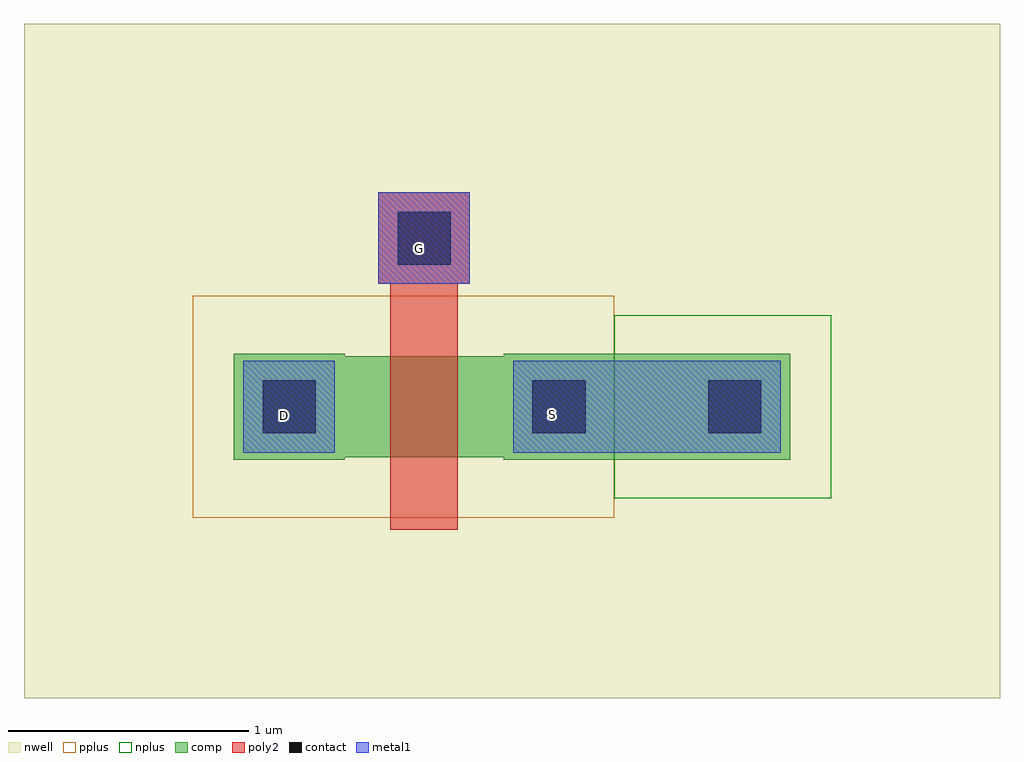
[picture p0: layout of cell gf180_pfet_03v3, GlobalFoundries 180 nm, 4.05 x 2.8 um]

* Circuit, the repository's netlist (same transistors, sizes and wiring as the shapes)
* Extracted by KLayout with GF180MCU LVS runset on : 18/08/2026 14:06

* cell gf180_pfet_03v3
* pin B
* pin D
* pin G
* pin S
.SUBCKT gf180_pfet_03v3 B D G S
* device instance $1 r0 *1 2.355,18.005 pfet_03v3
M$1 S G D B pfet_03v3 L=0.28U W=0.42U AS=0.2822P AD=0.2822P PS=2.18U PD=2.18U
.ENDS gf180_pfet_03v3

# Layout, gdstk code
import gdstk
lib = gdstk.Library(unit=1e-6, precision=1e-09)
def R(c, l, rs):  # rectangles x0, y0, x1, y1
    for r in rs: c.add(gdstk.rectangle(r[:2], r[2:], *l))
def P(c, l, *ps):  # polygons
    for p in ps: c.add(gdstk.Polygon(p, *l))
nwell = (21, 0)
comp = (22, 0)
poly2 = (30, 0)
pplus = (31, 0)
nplus = (32, 0)
contact = (33, 0)
metal1 = (34, 0)

pfet = lib.new_cell('pfet')
R(pfet, nwell, [(-1.33,-1,2.72,1.8)])
P(pfet, comp, [(-0.46,-0.01),(-0.46,0.43),(0,0.43),(0,0.42),(0.66,0.42),(0.66,0.43),(1.85,0.43),(1.85,-0.01),(0.66,-0.01),(0.66,0),(0,0),(0,-0.01)])
P(pfet, poly2, [(0.19,-0.3),(0.19,0.72),(0.14,0.72),(0.14,1.1),(0.52,1.1),(0.52,0.72),(0.47,0.72),(0.47,-0.3)])
R(pfet, pplus, [(-0.63,-0.25,1.12,0.67)])
R(pfet, nplus, [(1.12,-0.17,2.02,0.59)])
R(pfet, contact, [(-0.34,0.1,-0.12,0.32), (0.78,0.1,1,0.32), (1.51,0.1,1.73,0.32), (0.22,0.8,0.44,1.02)])
R(pfet, metal1, [(-0.42,0.02,-0.04,0.4), (0.7,0.02,1.08,0.4), (1.43,0.02,1.81,0.4), (0.14,0.72,0.52,1.1)])

gf180_pfet_03v3 = lib.new_cell('gf180_pfet_03v3')
gf180_pfet_03v3.add(gdstk.FlexPath([(3.105,18.005),(3.455,18.005)], 0.38, ends="flush", simple_path=True, layer=34, datatype=0))  # metal1
gf180_pfet_03v3.add(gdstk.Reference(pfet, (2.025,17.795)))
gf180_pfet_03v3.add(gdstk.Label('G', (2.335,18.66), layer=34, texttype=10))
gf180_pfet_03v3.add(gdstk.Label('D', (1.775,17.97), layer=34, texttype=10))
gf180_pfet_03v3.add(gdstk.Label('S', (2.89,17.975), layer=34, texttype=10))

lib.write_gds('gf180_pfet_03v3.gds')
